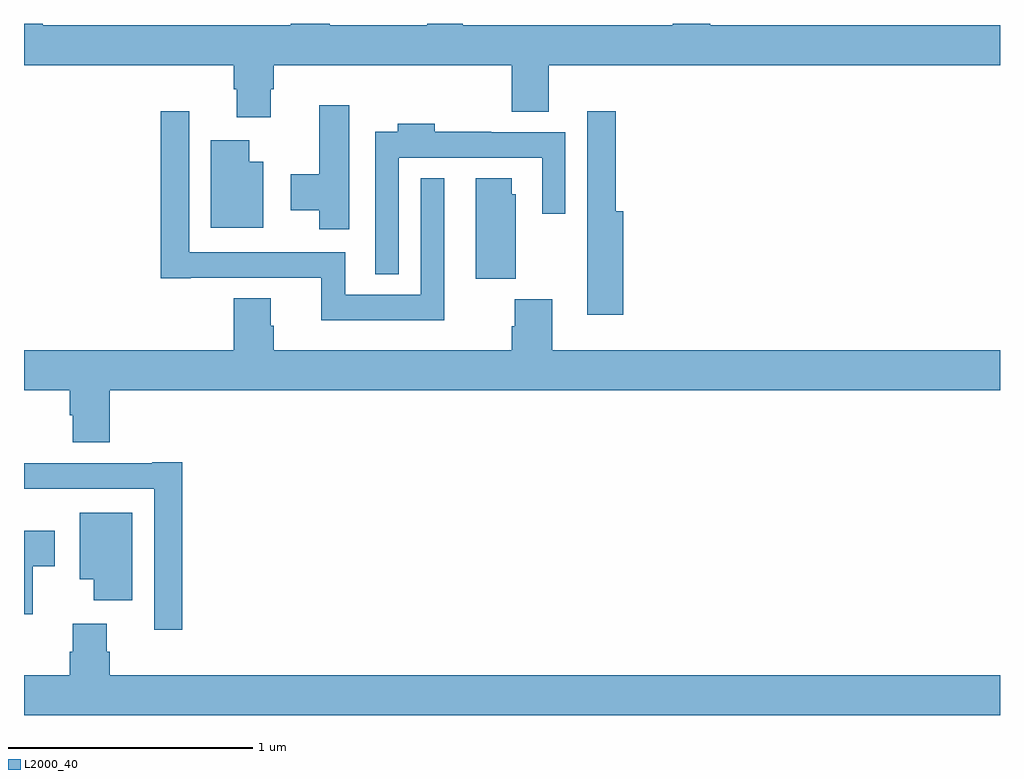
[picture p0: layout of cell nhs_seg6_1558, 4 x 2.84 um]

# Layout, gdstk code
import gdstk
lib = gdstk.Library(unit=1e-6, precision=1e-09)
def P(c, l, *ps):  # polygons
    for p in ps: c.add(gdstk.Polygon(p, *l))
L2000_40 = (2000, 40)

nhs_seg6_1558 = lib.new_cell('nhs_seg6_1558')
P(nhs_seg6_1558, L2000_40, [(206.011,955.23),(206.024,955.23),(206.024,955.328),(206.999,955.328),(206.999,955.139),(207.151,955.139),(207.151,955.328),(209,955.328),(209,955.492),(207.812,955.492),(207.812,955.5),(207.659,955.5),(207.659,955.492),(206.799,955.492),(206.799,955.5),(206.653,955.5),(206.653,955.492),(206.253,955.492),(206.253,955.5),(206.093,955.5),(206.093,955.492),(205.076,955.492),(205.076,955.5),(205,955.5),(205,955.328),(205.859,955.328),(205.859,955.23),(205.871,955.23),(205.871,955.116),(206.011,955.116)],
  [(206.332,955.165),(206.21,955.165),(206.21,954.882),(206.093,954.882),(206.093,954.734),(206.21,954.734),(206.21,954.657),(206.332,954.657)],
  [(207.455,954.73),(207.425,954.73),(207.425,955.141),(207.309,955.141),(207.309,954.626),(207.308,954.626),(207.308,954.306),(207.455,954.306)],
  [(206.722,954.865),(206.625,954.865),(206.625,954.388),(206.316,954.388),(206.316,954.562),(205.677,954.562),(205.677,955.141),(205.561,955.141),(205.561,954.456),(205.684,954.456),(205.684,954.458),(206.219,954.458),(206.219,954.284),(206.722,954.284)],
  [(206.535,954.95),(207.123,954.95),(207.123,954.72),(207.219,954.72),(207.219,955.054),(206.915,955.054),(206.915,955.057),(206.684,955.057),(206.684,955.09),(206.531,955.09),(206.531,955.057),(206.439,955.057),(206.439,954.473),(206.535,954.473)],
  [(205.981,954.934),(205.924,954.934),(205.924,955.021),(205.766,955.021),(205.766,954.662),(205.981,954.662)],
  [(207.016,954.801),(206.998,954.801),(206.998,954.865),(206.852,954.865),(206.852,954.454),(207.016,954.454)],
  [(205.352,953.996),(209,953.996),(209,954.16),(207.164,954.16),(207.164,954.369),(207.011,954.369),(207.011,954.26),(206.999,954.26),(206.999,954.16),(206.024,954.16),(206.024,954.261),(206.011,954.261),(206.011,954.373),(205.859,954.373),(205.859,954.16),(205,954.16),(205,953.996),(205.187,953.996),(205.187,953.895),(205.199,953.895),(205.199,953.783),(205.352,953.783)],
  [(205.649,953.701),(205.526,953.701),(205.526,953.698),(205,953.698),(205,953.594),(205.533,953.594),(205.533,953.016),(205.649,953.016)],
  [(205.444,953.494),(205.229,953.494),(205.229,953.222),(205.286,953.222),(205.286,953.136),(205.444,953.136)],
  [(205.036,953.275),(205.126,953.275),(205.126,953.422),(205,953.422),(205,953.078),(205.036,953.078)],
  [(209,952.828),(205.352,952.828),(205.352,952.926),(205.339,952.926),(205.339,953.041),(205.199,953.041),(205.199,952.926),(205.187,952.926),(205.187,952.828),(205,952.828),(205,952.664),(209,952.664)])

lib.write_gds('nhs_seg6_1558.gds')
